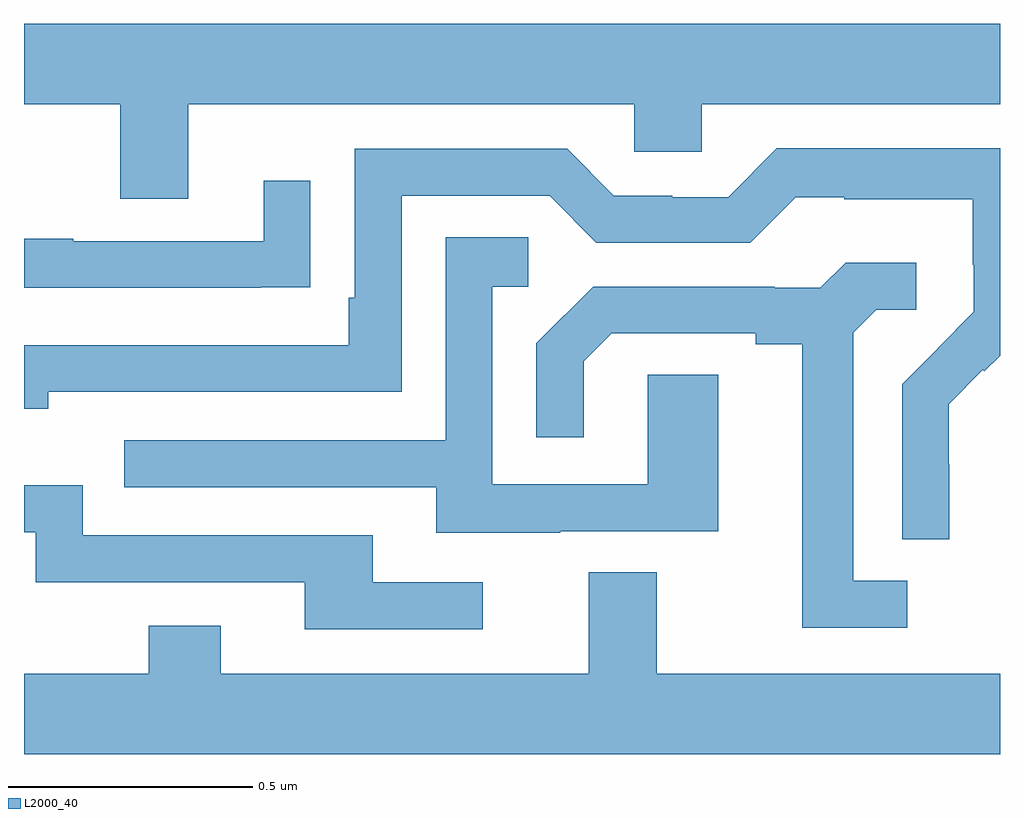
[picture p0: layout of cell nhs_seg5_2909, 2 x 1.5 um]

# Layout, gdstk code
import gdstk
lib = gdstk.Library(unit=1e-6, precision=1e-09)
def P(c, l, *ps):  # polygons
    for p in ps: c.add(gdstk.Polygon(p, *l))
L2000_40 = (2000, 40)

nhs_seg5_2909 = lib.new_cell('nhs_seg5_2909')
P(nhs_seg5_2909, L2000_40, [(150.337,863.42),(151.251,863.42),(151.251,863.322),(151.389,863.322),(151.389,863.42),(152,863.42),(152,863.584),(150,863.584),(150,863.42),(150.197,863.42),(150.197,863.226),(150.337,863.226)],
  [(151.896,862.682),(151.895,862.682),(151.895,862.805),(151.965,862.875),(151.968,862.872),(152,862.904),(152,863.329),(151.543,863.329),(151.443,863.229),(151.328,863.229),(151.328,863.232),(151.209,863.232),(151.113,863.328),(150.678,863.328),(150.678,863.023),(150.665,863.023),(150.665,862.926),(150,862.926),(150,862.796),(150.05,862.796),(150.05,862.83),(150.774,862.83),(150.774,863.232),(151.077,863.232),(151.173,863.136),(151.488,863.136),(151.581,863.229),(151.681,863.229),(151.681,863.225),(151.944,863.225),(151.944,863.091),(151.946,863.091),(151.946,862.994),(151.872,862.92),(151.873,862.919),(151.8,862.846),(151.8,862.528),(151.896,862.528)],
  [(150.485,863.044),(150.587,863.044),(150.587,863.263),(150.491,863.263),(150.491,863.139),(150.101,863.139),(150.101,863.144),(150,863.144),(150,863.043),(150.485,863.043)],
  [(151.099,862.545),(151.423,862.545),(151.423,862.865),(151.278,862.865),(151.278,862.641),(150.96,862.641),(150.96,863.046),(151.033,863.046),(151.033,863.147),(150.864,863.147),(150.864,862.731),(150.205,862.731),(150.205,862.635),(150.845,862.635),(150.845,862.541),(151.099,862.541)],
  [(151.81,862.443),(151.699,862.443),(151.699,862.951),(151.746,862.998),(151.828,862.998),(151.828,863.095),(151.684,863.095),(151.632,863.043),(151.538,863.043),(151.538,863.046),(151.166,863.046),(151.05,862.93),(151.05,862.737),(151.147,862.737),(151.147,862.893),(151.204,862.95),(151.499,862.95),(151.499,862.928),(151.595,862.928),(151.595,862.347),(151.81,862.347)],
  [(150.94,862.44),(150.715,862.44),(150.715,862.536),(150.12,862.536),(150.12,862.639),(150,862.639),(150,862.542),(150.024,862.542),(150.024,862.44),(150.575,862.44),(150.575,862.344),(150.94,862.344)],
  [(152,862.252),(151.297,862.252),(151.297,862.46),(151.157,862.46),(151.157,862.252),(150.403,862.252),(150.403,862.351),(150.256,862.351),(150.256,862.252),(150,862.252),(150,862.088),(152,862.088)])

lib.write_gds('nhs_seg5_2909.gds')
